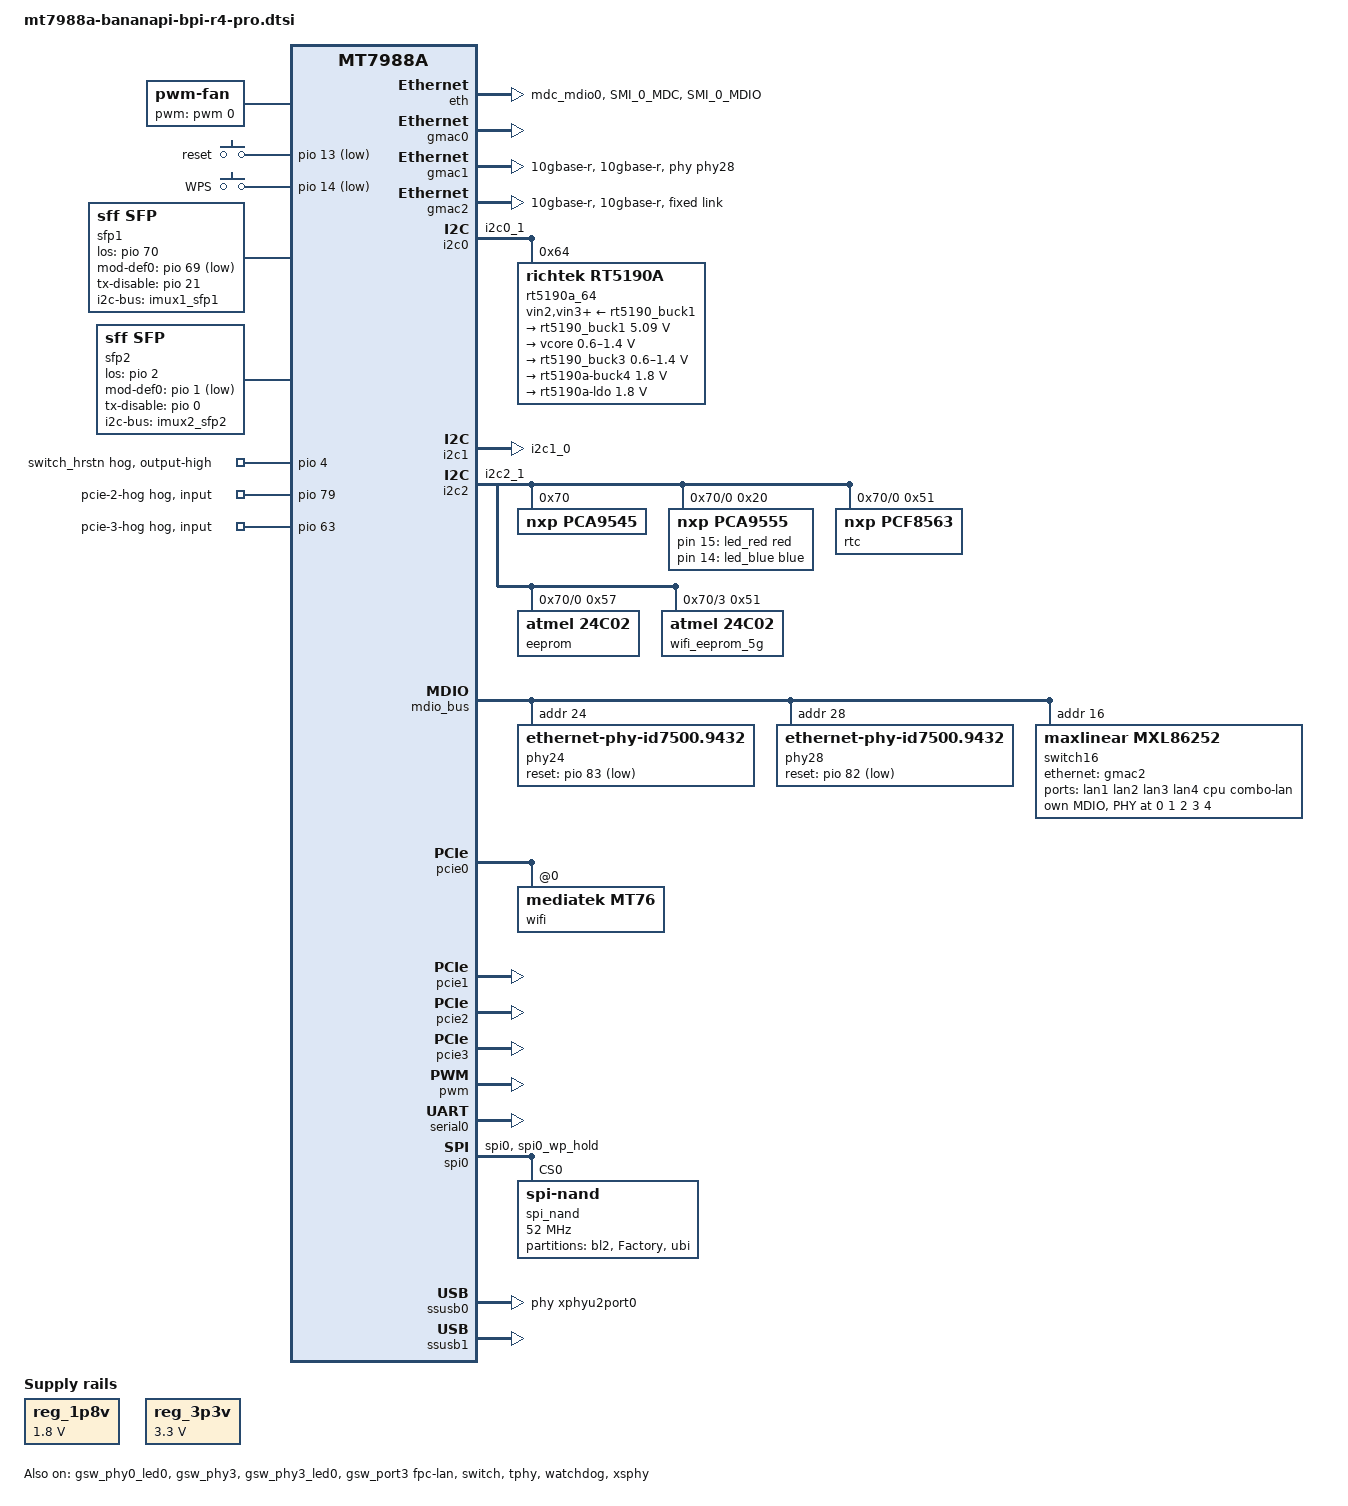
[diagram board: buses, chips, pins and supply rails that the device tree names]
// SPDX-License-Identifier: (GPL-2.0 OR MIT)
/*
 * Copyright (C) 2025 MediaTek Inc.
 * Author: Sam.Shih <sam.shih@mediatek.com>
 * Author: Frank Wunderlich <frank-w@public-files.de>
 */

/dts-v1/;

#include "mt7988a.dtsi"
#include <dt-bindings/gpio/gpio.h>
#include <dt-bindings/input/input.h>
#include <dt-bindings/leds/common.h>
#include <dt-bindings/regulator/richtek,rt5190a-regulator.h>

/ {
	aliases {
		ethernet0 = &gmac0;
		ethernet1 = &gmac1;
		ethernet2 = &gmac2;
		i2c0 = &i2c0;
		i2c1 = &i2c1;
		i2c2 = &i2c2;
		/* PCA9548 (0-0070) provides 4 i2c channels */
		i2c3 = &imux0;
		i2c4 = &imux1_sfp1;
		i2c5 = &imux2_sfp2;
		i2c6 = &imux3_wifi;
	};

	chosen {
		stdout-path = &serial0;
		bootargs = "console=ttyS0,115200n1 pci=pcie_bus_perf root=/dev/fit0 rootwait";
		rootdisk-spim-nand = <&ubi_rootfs>;
	};

	fan: pwm-fan {
		compatible = "pwm-fan";
		/* cooling level (0, 1, 2, 3) : (0% duty, 30% duty, 50% duty, 100% duty) */
		cooling-levels = <0 80 128 255>;
		pinctrl-0 = <&pwm0_pins>;
		pinctrl-names = "default";
		pwms = <&pwm 0 50000>;
		#cooling-cells = <2>;
	};

	gpio-keys {
		compatible = "gpio-keys";

		button-reset {
			label = "reset";
			gpios = <&pio 13 GPIO_ACTIVE_LOW>;
			linux,code = <KEY_RESTART>;
		};

		button-wps {
			label = "WPS";
			gpios = <&pio 14 GPIO_ACTIVE_LOW>;
			linux,code = <KEY_WPS_BUTTON>;
		};
	};

	gpio-leds {
		compatible = "gpio-leds";

		led_red: sys-led-red {
			color = <LED_COLOR_ID_RED>;
			function = LED_FUNCTION_FAULT;
			gpios = <&pca9555 15 GPIO_ACTIVE_HIGH>;
		};

		led_blue: sys-led-blue {
			color = <LED_COLOR_ID_BLUE>;
			function = LED_FUNCTION_ACTIVITY;
			gpios = <&pca9555 14 GPIO_ACTIVE_HIGH>;
		};
	};

	reg_1p8v: regulator-dvdd1v8 {
		compatible = "regulator-fixed";
		regulator-name = "DVDD1V8_SOC";
		regulator-min-microvolt = <1800000>;
		regulator-max-microvolt = <1800000>;
		regulator-boot-on;
		regulator-always-on;
	};

	reg_3p3v: regulator-3v3vd {
		compatible = "regulator-fixed";
		regulator-name = "3V3VD";
		regulator-min-microvolt = <3300000>;
		regulator-max-microvolt = <3300000>;
		regulator-boot-on;
		regulator-always-on;
	};

	/* SFP1 cage (LAN) */
	sfp1: sfp1 {
		compatible = "sff,sfp";
		i2c-bus = <&imux1_sfp1>;
		los-gpios = <&pio 70 GPIO_ACTIVE_HIGH>;
		mod-def0-gpios = <&pio 69 GPIO_ACTIVE_LOW>;
		tx-disable-gpios = <&pio 21 GPIO_ACTIVE_HIGH>;
		maximum-power-milliwatt = <3000>;
	};

	/* SFP2 cage (WAN) */
	sfp2: sfp2 {
		compatible = "sff,sfp";
		i2c-bus = <&imux2_sfp2>;
		los-gpios = <&pio 2 GPIO_ACTIVE_HIGH>;
		mod-def0-gpios = <&pio 1 GPIO_ACTIVE_LOW>;
		tx-disable-gpios = <&pio 0 GPIO_ACTIVE_HIGH>;
		maximum-power-milliwatt = <3000>;
	};
};

&cci {
	proc-supply = <&rt5190_buck3>;
};

&cpu0 {
	proc-supply = <&rt5190_buck3>;
};

&cpu1 {
	proc-supply = <&rt5190_buck3>;
};

&cpu2 {
	proc-supply = <&rt5190_buck3>;
};

&cpu3 {
	proc-supply = <&rt5190_buck3>;
};

&cpu_thermal {
	trips {
		cpu_trip_hot: hot {
			temperature = <120000>;
			hysteresis = <2000>;
			type = "hot";
		};

		cpu_trip_active_high: active-high {
			temperature = <115000>;
			hysteresis = <2000>;
			type = "active";
		};

		cpu_trip_active_med: active-med {
			temperature = <85000>;
			hysteresis = <2000>;
			type = "active";
		};

		cpu_trip_active_low: active-low {
			temperature = <40000>;
			hysteresis = <2000>;
			type = "active";
		};
	};

	cooling-maps {
		map-cpu-active-high {
			/* active: set fan to cooling level 2 */
			cooling-device = <&fan 3 3>;
			trip = <&cpu_trip_active_high>;
		};

		map-cpu-active-med {
			/* active: set fan to cooling level 1 */
			cooling-device = <&fan 2 2>;
			trip = <&cpu_trip_active_med>;
		};

		map-cpu-active-low {
			/* active: set fan to cooling level 0 */
			cooling-device = <&fan 1 1>;
			trip = <&cpu_trip_active_low>;
		};
	};
};

&eth {
	pinctrl-0 = <&mdio0_pins>;
	pinctrl-names = "default";
	status = "okay";

	mux: mux-bus {
		#address-cells = <1>;
		#size-cells = <0>;

		mux1: ethernet-mux@1 {
			compatible = "mediatek,eth-mux";
			reg = <1>;
			#address-cells = <1>;
			#size-cells = <0>;
			chan-sel-gpios = <&pio 3 GPIO_ACTIVE_HIGH>;
			mod-def0-gpios = <&pio 1 GPIO_ACTIVE_LOW>;
			sfp-present-channel = <1>;

			channel_10: channel@0 {
				reg = <0>;
				phy-mode = "10gbase-r";
				phy-connection-type = "10gbase-r";
				phy-handle = <&phy28>;
			};

			channel_11: channel@1 {
				reg = <1>;
				phy-mode = "10gbase-r";
				phy-connection-type = "10gbase-r";
				managed = "in-band-status";
				sfp = <&sfp2>;
			};
		};
	};
};

&gmac0 {
	status = "okay";
};

/*
 * The enclosure names this GMAC1/AS21xxx/SFP2 mux path "Combo WAN".
 * Keep vendor DTS media semantics here; compare AS21xxx/phylink/vendor
 * Ethernet behavior instead of guessing a local mode change if attach fails.
 */
&gmac1 {
	openwrt,netdev-name = "combo-wan";
	phy-mode = "10gbase-r";
	phy-connection-type = "10gbase-r";
	phy = <&phy28>;
	status = "okay";
};

&gmac2 {
	phy-mode = "10gbase-r";
	phy-connection-type = "10gbase-r";
	status = "okay";

	fixed-link {
		speed = <10000>;
		full-duplex;
		pause;
	};
};

&gsw_phy0 {
	pinctrl-0 = <&gbe0_led0_pins>;
	pinctrl-names = "gbe-led";
};

&gsw_phy0_led0 {
	color = <LED_COLOR_ID_YELLOW>;
	function = LED_FUNCTION_LAN;
	status = "okay";
};

&gsw_port0 {
	label = "lan5";
};

/*
 * The 8X routes internal switch port 3 to the ETH8 1G FPC connector.
 * Vendor 24.10 names this port "lan3", but current 25.12 names the
 * MxL user ports lan1..lan4, so use the media-specific "fpc-lan".
 */
&gsw_phy1 {
	status = "disabled";
};

&gsw_port1 {
	status = "disabled";
};

&gsw_phy2 {
	status = "disabled";
};

&gsw_port2 {
	status = "disabled";
};

&gsw_phy3 {
	pinctrl-0 = <&gbe3_led0_pins>;
	pinctrl-names = "gbe-led";
	status = "okay";
};

&gsw_phy3_led0 {
	color = <LED_COLOR_ID_GREEN>;
	function = LED_FUNCTION_LAN;
	status = "okay";
};

&gsw_port3 {
	label = "fpc-lan";
	status = "okay";
};

&i2c0 {
	pinctrl-0 = <&i2c0_pins>;
	pinctrl-names = "default";
	status = "okay";

	rt5190a_64: rt5190a@64 {
		compatible = "richtek,rt5190a";
		reg = <0x64>;
		vin2-supply = <&rt5190_buck1>;
		vin3-supply = <&rt5190_buck1>;
		vin4-supply = <&rt5190_buck1>;

		regulators {
			rt5190_buck1: buck1 {
				regulator-name = "rt5190a-buck1";
				regulator-min-microvolt = <5090000>;
				regulator-max-microvolt = <5090000>;
				regulator-allowed-modes =
				<RT5190A_OPMODE_AUTO RT5190A_OPMODE_FPWM>;
				regulator-boot-on;
				regulator-always-on;
			};

			buck2 {
				regulator-name = "vcore";
				regulator-min-microvolt = <600000>;
				regulator-max-microvolt = <1400000>;
				regulator-boot-on;
				regulator-always-on;
			};

			rt5190_buck3: buck3 {
				regulator-name = "vproc";
				regulator-min-microvolt = <600000>;
				regulator-max-microvolt = <1400000>;
				regulator-boot-on;
				regulator-always-on;
			};

			buck4 {
				regulator-name = "rt5190a-buck4";
				/* TODO(vendor-convergence, Phase 13): vendor 8X DTS uses 850000 uV. */
				regulator-min-microvolt = <1800000>;
				regulator-max-microvolt = <1800000>;
				regulator-allowed-modes =
				<RT5190A_OPMODE_AUTO RT5190A_OPMODE_FPWM>;
				regulator-boot-on;
				regulator-always-on;
			};

			ldo {
				regulator-name = "rt5190a-ldo";
				/* TODO(vendor-convergence, Phase 13): vendor 8X DTS uses 1200000 uV. */
				regulator-min-microvolt = <1800000>;
				regulator-max-microvolt = <1800000>;
				regulator-boot-on;
				regulator-always-on;
			};
		};
	};
};

&i2c1 {
	pinctrl-0 = <&i2c1_pins>;
	pinctrl-names = "default";
	status = "okay";
};

&i2c2 {
	pinctrl-0 = <&i2c2_1_pins>;
	pinctrl-names = "default";
	status = "okay";

	pca9545: i2c-mux@70 {
		compatible = "nxp,pca9545";
		reg = <0x70>;
		#address-cells = <1>;
		#size-cells = <0>;

		imux0: i2c@0 {
			reg = <0>;
			#address-cells = <1>;
			#size-cells = <0>;

			pca9555: i2c-gpio-expander@20 {
				compatible = "nxp,pca9555";
				reg = <0x20>;
				gpio-controller;
				#gpio-cells = <2>;
			};

			rtc@51 {
				compatible = "nxp,pcf8563";
				reg = <0x51>;
			};

			eeprom@57 {
				compatible = "atmel,24c02";
				reg = <0x57>;
				address-width = <8>;
				pagesize = <8>;
				size = <256>;
			};
		};

		imux1_sfp1: i2c@1 {
			reg = <1>;
			#address-cells = <1>;
			#size-cells = <0>;
		};

			imux2_sfp2: i2c@2 {
				reg = <2>;
				#address-cells = <1>;
				#size-cells = <0>;
			};

			imux3_wifi: i2c@3 {
				reg = <3>;
				#address-cells = <1>;
				#size-cells = <0>;

				/*
				 * Official runtime confirms at24 6-0051. Do not add the
				 * vendor Wi-Fi overlay's 0x52 EEPROM until live DT/I2C
				 * evidence proves that second EEPROM exists.
				 */
				wifi_eeprom_5g: eeprom@51 {
					compatible = "atmel,24c02";
					reg = <0x51>;
					address-width = <8>;
					pagesize = <8>;
					size = <256>;

					nvmem-layout {
						compatible = "fixed-layout";
						#address-cells = <1>;
						#size-cells = <1>;

						macaddr_5g: macaddr@0 {
							reg = <0x0 0x6>;
						};
					};
				};

			};
	};
};

&mdio_bus {
	clock-frequency = <12500000>;

	/* external Aeonsemi AS21010PB1 connected to the MxL86252C combo LAN path */
	phy24: ethernet-phy@24 {
		/*
		 * Keep the generic C45 compatible for bus probing and add
		 * the fixed AS21010PB1 ID for the AS21xxx driver's early
		 * firmware/ID fallback.
		 */
		compatible = "ethernet-phy-id7500.9432",
			     "ethernet-phy-ieee802.3-c45";
		reg = <24>;
		reset-gpios = <&pio 83 GPIO_ACTIVE_LOW>;
		reset-assert-us = <200000>;
		reset-deassert-us = <350000>;
		firmware-name = "as21x1x_fw.bin";

		leds {
			#address-cells = <1>;
			#size-cells = <0>;

			phy24_led0: led@0 {
				reg = <0>;
				linux,default-trigger = "netdev";
				active-high;
				status = "okay";
			};

			phy24_led1: led@1 {
				reg = <1>;
				linux,default-trigger = "netdev";
				active-high;
				status = "okay";
			};
		};
	};

	phy28: ethernet-phy@28 {
		compatible = "ethernet-phy-id7500.9432",
			     "ethernet-phy-ieee802.3-c45";
		reg = <28>;
		reset-gpios = <&pio 82 GPIO_ACTIVE_LOW>;
		reset-assert-us = <200000>;
		reset-deassert-us = <350000>;
		firmware-name = "as21x1x_fw.bin";

		leds {
			#address-cells = <1>;
			#size-cells = <0>;

			phy28_led0: led@0 {
				reg = <0>;
				linux,default-trigger = "netdev";
				active-high;
				status = "okay";
			};

			phy28_led1: led@1 {
				reg = <1>;
				linux,default-trigger = "netdev";
				active-high;
				status = "okay";
			};
		};
	};

	switch16: switch@16 {
		compatible = "maxlinear,mxl86252";
		reg = <16>;
		dsa,member = <0 0>;
		status = "okay";

		/*
		 * Vendor 24.10 uses compatible "mxl,86252",
		 * dsa-tag-protocol "mxl862_8021q", and DTS port regs
		 * 0..4/8/12 because its driver maps DSA indexes through
		 * DSA_MXL_PORT(port) = port + 1.  The selected PR #21083
		 * driver uses direct firmware/DSA logical port IDs, so this
		 * describes the same wiring as logical ports 1..5/9/13.
		 */
		ds_mux: ds-mux-bus {
			#address-cells = <1>;
			#size-cells = <0>;

			ds_mux0: ds-mux@13 {
				compatible = "mxl862xx,ds-mux";
				reg = <13>;
				#address-cells = <1>;
				#size-cells = <0>;
				chan-sel-gpios = <&pio 54 GPIO_ACTIVE_HIGH>;
				mod-def0-gpios = <&pio 69 GPIO_ACTIVE_LOW>;
				sfp-present-channel = <0>;

				ds_channel_0: channel@0 {
					reg = <0>;
					phy-mode = "10gbase-r";
					phy-connection-type = "10gbase-r";
					managed = "in-band-status";
					sfp = <&sfp1>;
				};

				ds_channel_1: channel@1 {
					reg = <1>;
					phy-mode = "10gbase-r";
					phy-connection-type = "10gbase-r";
					phy-handle = <&phy24>;
				};
			};
		};

		ports {
			#address-cells = <1>;
			#size-cells = <0>;

			port@1 {
				reg = <1>;
				label = "lan1";
				phy-handle = <&mxl_switchphy0>;
				phy-mode = "internal";
				status = "okay";
			};

			port@2 {
				reg = <2>;
				label = "lan2";
				phy-handle = <&mxl_switchphy1>;
				phy-mode = "internal";
				status = "okay";
			};

			port@3 {
				reg = <3>;
				label = "lan3";
				phy-handle = <&mxl_switchphy2>;
				phy-mode = "internal";
				status = "okay";
			};

			port@4 {
				reg = <4>;
				label = "lan4";
				phy-handle = <&mxl_switchphy3>;
				phy-mode = "internal";
				status = "okay";
			};

			/* Vendor DTS has a disabled port@4; translated to logical port 5. */
			port@5 {
				reg = <5>;
				phy-handle = <&mxl_switchphy4>;
				phy-mode = "internal";
				status = "disabled";
			};

			port@9 {
				reg = <9>;
				label = "cpu";
				ethernet = <&gmac2>;
				phy-mode = "10gbase-r";
				dsa-tag-protocol = "mxl862xx-8021q";

				fixed-link {
					speed = <10000>;
					full-duplex;
				};
			};

			port@13 {
				reg = <13>;
				label = "combo-lan";
				phy-mode = "10gbase-r";
				phy-connection-type = "10gbase-r";
				phy-handle = <&phy24>;
				status = "okay";
			};
		};

		mdio {
			#address-cells = <1>;
			#size-cells = <0>;

			mxl_switchphy0: ethernet-phy@0 {
				reg = <0>;
			};

			mxl_switchphy1: ethernet-phy@1 {
				reg = <1>;
			};

			mxl_switchphy2: ethernet-phy@2 {
				reg = <2>;
			};

			mxl_switchphy3: ethernet-phy@3 {
				reg = <3>;
			};

			mxl_switchphy4: ethernet-phy@4 {
				reg = <4>;
			};
		};
	};
};

/* mPCIe SIM2 (11300000) */
&pcie0 {
	/*
	 * TODO(vendor-convergence, Phase 12): vendor main DTS uses PCIe pinctrl,
	 * device_type = "pci", and mediatek,mtd-eeprom = <&factory 0x0>. The
	 * current child uses the official-runtime-confirmed 0x51 EEPROM nvmem cell
	 * until Factory/eeprom source and mt76 expectations are verified together.
	 */
	status = "okay";

	pcie@0,0 {
		reg = <0x0000 0 0 0 0>;
		#address-cells = <3>;
		#size-cells = <2>;

		wifi@0,0 {
			compatible = "mediatek,mt76";
			reg = <0x0000 0 0 0 0>;
			nvmem-cells = <&macaddr_5g>;
			nvmem-cell-names = "mac-address";
		};
	};
};

/* mPCIe (11310000 near leds) SIM3 */
&pcie1 {
	/* TODO(vendor-convergence, Phase 12): add mt76/nvmem child only after 0x52 EEPROM evidence. */
	status = "okay";
};

/*
 * TODO(vendor-convergence, Phase 12/13): vendor 8X DTS assigns pcie0_pins
 * through pcie3_pins. Add verified 6.12 pinctrl nodes together with Wi-Fi,
 * NVMe, and 5G/PCIe-mux validation instead of copying unavailable labels.
 */

/* M.2 (11280000) 1L0 key-m SSD1 CN13 / key-b SIM1 CN15 */
&pcie2 {
	status = "okay";
};

/* M.2 (11290000) 1L1 key-m SSD2 CN14 / key-b SIM2 CN18 */
&pcie3 {
	status = "okay";
};

&pio {
	gbe0_led0_pins: gbe0-led0-pins {
		mux {
			function = "led";
			groups = "gbe0_led0";
		};
	};

	gbe3_led0_pins: gbe3-led0-pins {
		mux {
			function = "led";
			groups = "gbe3_led0";
		};
	};

	i2c0_pins: i2c0-g0-pins {
		mux {
			function = "i2c";
			groups = "i2c0_1";
		};
	};

	i2c1_pins: i2c1-g0-pins {
		mux {
			function = "i2c";
			groups = "i2c1_0";
		};
	};

	i2c2_1_pins: i2c2-g1-pins {
		mux {
			function = "i2c";
			groups = "i2c2_1";
		};
	};

	mdio0_pins: mdio0-pins {
		mux {
			function = "eth";
			groups = "mdc_mdio0";
		};

		conf {
			pins = "SMI_0_MDC", "SMI_0_MDIO";
			drive-strength = <8>;
		};
	};

	mmc0_pins_emmc_51: mmc0-emmc-51-pins {
		mux {
			function = "flash";
			groups = "emmc_51";
		};
	};

	mmc0_pins_sdcard: mmc0-sdcard-pins {
		mux {
			function = "flash";
			groups = "sdcard";
		};
	};

	/* MxL86252C 2.5G switch reset pin GPIO4: high; not vendor overlay wifi_12v. */
	switch_hrstn {
		gpio-hog;
		gpios = <4 GPIO_ACTIVE_HIGH>;
		output-high;
	};

	/* 1L0 0=key-b (CN15), 1=key-m (CN13) */
	pcie-2-hog {
		gpio-hog;
		gpios = <79 GPIO_ACTIVE_HIGH>;
	};

	/* 1L1 0=key-b (CN18), 1=key-m (CN14) */
	pcie-3-hog {
		gpio-hog;
		gpios = <63 GPIO_ACTIVE_HIGH>;
	};

	pwm0_pins: pwm0-pins {
		mux {
			groups = "pwm0";
			function = "pwm";
		};
	};

	spi0_flash_pins: spi0-flash-pins {
		mux {
			function = "spi";
			groups = "spi0", "spi0_wp_hold";
		};
	};
};

&pwm {
	status = "okay";
};

&serial0 {
	status = "okay";
};

&spi0 {
	pinctrl-0 = <&spi0_flash_pins>;
	pinctrl-names = "default";
	status = "okay";

	spi_nand: nand@0 {
		compatible = "spi-nand";
		reg = <0>;
		spi-max-frequency = <52000000>;
		spi-rx-bus-width = <4>;
		spi-tx-bus-width = <4>;
	};
};

&spi_nand {
	partitions {
		compatible = "fixed-partitions";
		#address-cells = <1>;
		#size-cells = <1>;

		partition@0 {
			reg = <0x0 0x200000>;
			label = "bl2";
		};

		partition@200000 {
			reg = <0x200000 0x400000>;
			label = "Factory";
			/* TODO(vendor-convergence, Phase 9): add Factory MAC nvmem cells after source verification. */
		};

		/*
		 * TODO(vendor-convergence, Phase 10): vendor 8X also has a
		 * nandflash covering partition and uses u-boot,env-redundant-bool
		 * without the 25.12 -layout suffix. Converge with image/sysupgrade
		 * install artifact work, not as an isolated Phase 6 shortcut.
		 */
		partition@600000 {
			compatible = "linux,ubi";
			reg = <0x600000 0xfa00000>;
			label = "ubi";

			volumes {
				ubi-volume-ubootenv {
					volname = "ubootenv";
					nvmem-layout {
						compatible = "u-boot,env-redundant-bool-layout";
					};
				};

				ubi-volume-ubootenv2 {
					volname = "ubootenv2";
					nvmem-layout {
						compatible = "u-boot,env-redundant-bool-layout";
					};
				};

				ubi_rootfs: ubi-volume-fit {
					volname = "fit";
				};
			};
		};
	};
};

/* back USB */
&ssusb0 {
	/* TODO(vendor-convergence, Phase 13): verify vendor deletion of mediatek,p0_speed_fixup before changing USB behavior. */
	/* Use U2P only instead of both U3P/U2P due to U3P serdes shared with pcie2 */
	phys = <&xphyu2port0 PHY_TYPE_USB2>;
	mediatek,u3p-dis-msk = <1>;
	status = "okay";
};

/* front USB */
&ssusb1 {
	status = "okay";
};

&switch {
	dsa,member = <1 0>;
	status = "okay";
};

&tphy {
	status = "okay";
};

&watchdog {
	status = "okay";
};

&xsphy {
	status = "okay";
};
